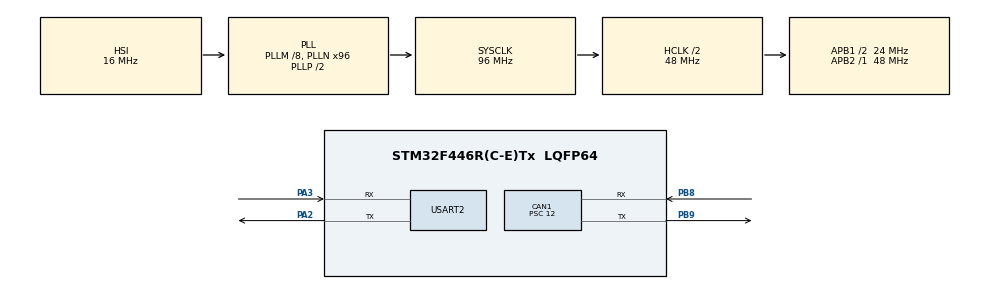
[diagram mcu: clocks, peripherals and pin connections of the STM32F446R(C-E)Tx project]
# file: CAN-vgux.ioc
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CAN1.BS1=CAN_BS1_13TQ
CAN1.BS2=CAN_BS2_2TQ
CAN1.CalculateBaudRate=125000
CAN1.CalculateTimeBit=8000
CAN1.CalculateTimeQuantum=500.0
CAN1.Prescaler=12
Mcu.Family=STM32F4
Mcu.Name=STM32F446R(C-E)Tx
Mcu.Package=LQFP64
NVIC.CAN1_RX0_IRQn=true\:0\:0\:false\:false\:true\:true\:true\:true
NVIC.CAN1_RX1_IRQn=true\:0\:0\:false\:false\:true\:true\:true\:true
NVIC.CAN1_SCE_IRQn=true\:0\:0\:false\:false\:true\:true\:true\:true
NVIC.CAN1_TX_IRQn=true\:0\:0\:false\:false\:true\:true\:true\:true
NVIC.PriorityGroup=NVIC_PRIORITYGROUP_4
PA2.Mode=Asynchronous
PA2.Signal=USART2_TX
PA3.Mode=Asynchronous
PA3.Signal=USART2_RX
PB8.Mode=CAN_Activate
PB8.Signal=CAN1_RX
PB9.Mode=CAN_Activate
PB9.Signal=CAN1_TX
PC14-OSC32_IN.Mode=LSE-External-Oscillator
PC14-OSC32_IN.Signal=RCC_OSC32_IN
PC15-OSC32_OUT.Mode=LSE-External-Oscillator
PC15-OSC32_OUT.Signal=RCC_OSC32_OUT
ProjectManager.HeapSize=0x200
ProjectManager.StackSize=0x400
ProjectManager.TargetToolchain=STM32CubeIDE
RCC.AHBCLKDivider=RCC_SYSCLK_DIV2
RCC.AHBFreq_Value=48000000
RCC.APB1CLKDivider=RCC_HCLK_DIV2
RCC.APB1Freq_Value=24000000
RCC.APB1TimFreq_Value=48000000
RCC.APB2Freq_Value=48000000
RCC.APB2TimFreq_Value=48000000
RCC.CortexFreq_Value=48000000
RCC.HCLKFreq_Value=48000000
RCC.PLLM=8
RCC.PLLN=96
RCC.SYSCLKFreq_VALUE=96000000
RCC.SYSCLKSource=RCC_SYSCLKSOURCE_PLLCLK
RCC.USBFreq_Value=96000000
RCC.VCOOutputFreq_Value=192000000
USART2.VirtualMode=VM_ASYNC
board=custom

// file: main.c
/*
 * http://wiki.labaixbidouille.com/index.php/Mise_en_place_d%27un_bus_CAN
 */

/* USER CODE BEGIN Header */
/**
  ******************************************************************************
  * @file           : main.c
  * @brief          : Main program body
  ******************************************************************************
  * @attention
  *
  * Copyright (c) 2022 STMicroelectronics.
  * All rights reserved.
  *
  * This software is licensed under terms that can be found in the LICENSE file
  * in the root directory of this software component.
  * If no LICENSE file comes with this software, it is provided AS-IS.
  *
  ******************************************************************************
  */
/* USER CODE END Header */
#include "main.h"

CAN_HandleTypeDef hcan1;

UART_HandleTypeDef huart2;

/* USER CODE BEGIN PV */
CAN_TxHeaderTypeDef   TxHeader;
CAN_RxHeaderTypeDef   RxHeader;
uint8_t               TxData[8];
uint8_t               RxData[8];
uint32_t              TxMailbox;
/* USER CODE END PV */

void SystemClock_Config(void);
static void MX_GPIO_Init(void);
static void MX_CAN1_Init(void);
static void MX_USART2_UART_Init(void);

/* USER CODE BEGIN 0 */
#define DEVICE_CAN_ID 0x2

#define LED2_INIT RCC->AHB1ENR |= RCC_AHB1ENR_GPIOAEN; \
        GPIOA->MODER |= GPIO_MODER_MODER5_0
#define LED2_ON (GPIOA->ODR |= 0x0020)
#define LED2_OFF (GPIOA->ODR &= ~0x0020)

int __io_putchar(int ch) {
	while(((USART2->SR) &= (1<<7)) == 0);
	USART2->DR = ch;
}

void CAN_Config(void)
{
	  CAN_FilterTypeDef  sFilterConfig;

	  sFilterConfig.FilterBank = 0;
	  sFilterConfig.FilterMode = CAN_FILTERMODE_IDMASK;
	  sFilterConfig.FilterScale = CAN_FILTERSCALE_32BIT;
	  sFilterConfig.FilterIdHigh = 0;        //DEVICE_CAN_ID << 5   // ID de la carte.
	  sFilterConfig.FilterIdLow = 0;
	  sFilterConfig.FilterMaskIdHigh = 0;       // 0xFFF << 5// Accepte une adresse unique
	  sFilterConfig.FilterMaskIdLow = 0;
	  sFilterConfig.FilterFIFOAssignment = CAN_RX_FIFO0;
	  sFilterConfig.FilterActivation = ENABLE;
	  sFilterConfig.SlaveStartFilterBank = 14;

	  HAL_CAN_ConfigFilter(&hcan1, &sFilterConfig);      // Configure le filtre
}

void CAN_transmit_param(void)
{
	  TxHeader.StdId = DEVICE_CAN_ID;
	  TxHeader.ExtId = 0x00;
	  TxHeader.RTR = CAN_RTR_DATA;
	  TxHeader.IDE = CAN_ID_STD;
	  TxHeader.DLC = 8; // 2 byte long
	  TxHeader.TransmitGlobalTime = DISABLE;
}
/* USER CODE END 0 */

int main(void)
{

  /* MCU Configuration--------------------------------------------------------*/

  /* Reset of all peripherals, Initializes the Flash interface and the Systick. */
  HAL_Init();

  /* Configure the system clock */
  SystemClock_Config();

  /* Initialize all configured peripherals */
  MX_GPIO_Init();
  MX_CAN1_Init();
  MX_USART2_UART_Init();
  /* USER CODE BEGIN 2 */
  HAL_CAN_Start(&hcan1);

  CAN_Config();

  CAN_transmit_param();

  /*// Si utilisation interruptions
  //HAL_CAN_ActivateNotification(&hcan1, CAN_IT_RX_FIFO0_MSG_PENDING);
  */
  LED2_INIT;
  LED2_OFF;

  HAL_Delay(500);
  LED2_ON;

  printf("Demarrage!\r\n");

  HAL_Delay(500);
  LED2_OFF;

  //TxData[0] = 0x5D;
  //TxData[1] = 0xAA;

  TxData[0] = 'V';
  TxData[1] = 'i';
  TxData[2] = 'c';
  TxData[3] = 't';
  TxData[4] = 'o';
  TxData[5] = 'r';
  TxData[6] = '!';
  TxData[7] = '\n';

  /* USER CODE END 2 */

  /* Infinite loop */
  while (1)
  {

    /* USER CODE BEGIN 3 */

	  // Sending!
	  /*
	  HAL_CAN_AddTxMessage(&hcan1, &TxHeader, TxData, &TxMailbox);
	  printf("This device ID= 0x%x sends : %c %c\r\n", DEVICE_CAN_ID, TxData[0], TxData[1]);
		HAL_Delay(1000);
*/

	  // Receiving everything!
	  /*if(HAL_CAN_GetRxFifoFillLevel(&hcan1, CAN_RX_FIFO0) > 0)
	  {
		  HAL_CAN_GetRxMessage(&hcan1, CAN_RX_FIFO0, &RxHeader, RxData);
		  HAL_Delay(10);
	  }*/

	  // Receiving specific DLC
	  // Doesn't work all the time :/
	  if(HAL_CAN_GetRxFifoFillLevel(&hcan1, CAN_RX_FIFO0) > 0)
	  {
		  if(RxHeader.DLC == 8) {
			  HAL_CAN_GetRxMessage(&hcan1, CAN_RX_FIFO0, &RxHeader, RxData);
			  RxData[7] = '\0';
			  printf("%s\n", RxData);
		  } else {
			  HAL_CAN_GetRxMessage(&hcan1, CAN_RX_FIFO0, &RxHeader, RxData);
		  }
	  }
  }
  /* USER CODE END 3 */
}

void SystemClock_Config(void)
{
  RCC_OscInitTypeDef RCC_OscInitStruct = {0};
  RCC_ClkInitTypeDef RCC_ClkInitStruct = {0};

  /** Configure the main internal regulator output voltage
  */
  __HAL_RCC_PWR_CLK_ENABLE();
  __HAL_PWR_VOLTAGESCALING_CONFIG(PWR_REGULATOR_VOLTAGE_SCALE3);

  /** Initializes the RCC Oscillators according to the specified parameters
  * in the RCC_OscInitTypeDef structure.
  */
  RCC_OscInitStruct.OscillatorType = RCC_OSCILLATORTYPE_HSI;
  RCC_OscInitStruct.HSIState = RCC_HSI_ON;
  RCC_OscInitStruct.HSICalibrationValue = RCC_HSICALIBRATION_DEFAULT;
  RCC_OscInitStruct.PLL.PLLState = RCC_PLL_ON;
  RCC_OscInitStruct.PLL.PLLSource = RCC_PLLSOURCE_HSI;
  RCC_OscInitStruct.PLL.PLLM = 8;
  RCC_OscInitStruct.PLL.PLLN = 96;
  RCC_OscInitStruct.PLL.PLLP = RCC_PLLP_DIV2;
  RCC_OscInitStruct.PLL.PLLQ = 2;
  RCC_OscInitStruct.PLL.PLLR = 2;
  if (HAL_RCC_OscConfig(&RCC_OscInitStruct) != HAL_OK)
  {
    Error_Handler();
  }

  /** Initializes the CPU, AHB and APB buses clocks
  */
  RCC_ClkInitStruct.ClockType = RCC_CLOCKTYPE_HCLK|RCC_CLOCKTYPE_SYSCLK
                              |RCC_CLOCKTYPE_PCLK1|RCC_CLOCKTYPE_PCLK2;
  RCC_ClkInitStruct.SYSCLKSource = RCC_SYSCLKSOURCE_PLLCLK;
  RCC_ClkInitStruct.AHBCLKDivider = RCC_SYSCLK_DIV2;
  RCC_ClkInitStruct.APB1CLKDivider = RCC_HCLK_DIV2;
  RCC_ClkInitStruct.APB2CLKDivider = RCC_HCLK_DIV1;

  if (HAL_RCC_ClockConfig(&RCC_ClkInitStruct, FLASH_LATENCY_1) != HAL_OK)
  {
    Error_Handler();
  }
}

static void MX_CAN1_Init(void)
{

  hcan1.Instance = CAN1;
  hcan1.Init.Prescaler = 12;
  hcan1.Init.Mode = CAN_MODE_NORMAL;
  hcan1.Init.SyncJumpWidth = CAN_SJW_1TQ;
  hcan1.Init.TimeSeg1 = CAN_BS1_13TQ;
  hcan1.Init.TimeSeg2 = CAN_BS2_2TQ;
  hcan1.Init.TimeTriggeredMode = DISABLE;
  hcan1.Init.AutoBusOff = DISABLE;
  hcan1.Init.AutoWakeUp = DISABLE;
  hcan1.Init.AutoRetransmission = DISABLE;
  hcan1.Init.ReceiveFifoLocked = DISABLE;
  hcan1.Init.TransmitFifoPriority = DISABLE;
  if (HAL_CAN_Init(&hcan1) != HAL_OK)
  {
    Error_Handler();
  }

}

static void MX_USART2_UART_Init(void)
{

  huart2.Instance = USART2;
  huart2.Init.BaudRate = 115200;
  huart2.Init.WordLength = UART_WORDLENGTH_8B;
  huart2.Init.StopBits = UART_STOPBITS_1;
  huart2.Init.Parity = UART_PARITY_NONE;
  huart2.Init.Mode = UART_MODE_TX_RX;
  huart2.Init.HwFlowCtl = UART_HWCONTROL_NONE;
  huart2.Init.OverSampling = UART_OVERSAMPLING_16;
  if (HAL_UART_Init(&huart2) != HAL_OK)
  {
    Error_Handler();
  }

}

static void MX_GPIO_Init(void)
{

  /* GPIO Ports Clock Enable */
  __HAL_RCC_GPIOC_CLK_ENABLE();
  __HAL_RCC_GPIOA_CLK_ENABLE();
  __HAL_RCC_GPIOB_CLK_ENABLE();

}

void Error_Handler(void)
{
  __disable_irq();
  while (1)
  {
  }
}
